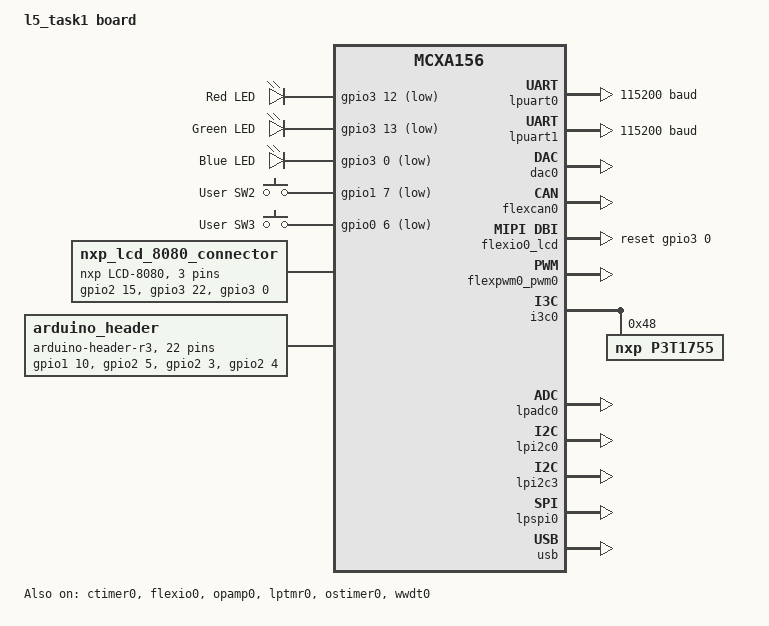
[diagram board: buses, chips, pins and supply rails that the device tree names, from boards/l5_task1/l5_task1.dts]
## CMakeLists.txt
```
cmake_minimum_required(VERSION 3.20.0)


list(APPEND BOARD_ROOT ${CMAKE_CURRENT_SOURCE_DIR})

# set(DTC_OVERLAY_FILE "${CMAKE_CURRENT_SOURCE_DIR}/boards/app.overlay")

## IMPORTANT: Use this line if you have many .overlay files.If not only your board overlay will be build.
# Used in practice DeviceTree:
# list(APPEND EXTRA_DTC_OVERLAY_FILE "${CMAKE_CURRENT_SOURCE_DIR}/boards/app.overlay")

#Used in practice Drivers: drivers app.overlay
list(APPEND EXTRA_DTC_OVERLAY_FILE "${CMAKE_CURRENT_SOURCE_DIR}/src/app.overlay")

list(APPEND DTS_ROOT ${CMAKE_CURRENT_SOURCE_DIR}/..) #added drivers

find_package(Zephyr REQUIRED)
project(my_zephyr_app)

# drivers
add_subdirectory(drivers/our_driver) 


target_sources(app PRIVATE src/main.cpp)


# Added by Franco: If option"Enable LED debugging" is active in Kconfig:
if(CONFIG_LED_DEBUG)
    message(STATUS "Option LED_DEBUG active: Adding target for automatic debug")
    
    add_custom_target(run_debug ALL
        COMMAND west debug
        COMMENT "Executing automatic west debug by CONFIG_LED_DEBUG=y"
        USES_TERMINAL
    )
    
    # Forces debug sesion after compilation
    add_dependencies(run_debug zephyr_final)
endif()
```

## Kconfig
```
# ------- Module 04 Homework by Franco Rota -------

config APP_HEARTBEAT_PERIOD_MS
    int "APP_HEARTBEAT_PERIOD_MS"
                range 100 2000
                default 500
    help
        Controls the blinking period.


# ------- End of Homework ------------------


# ------- Module 03 Homework by Franco Rota -------
# 1.[*] LED Subsystem --->
menuconfig LED_SUBSYSTEM
    bool "LED Subsystem"
    default y
if LED_SUBSYSTEM
    # 2a. LED blink sleep time (1s (medium))
    choice
        prompt "LED blink sleep time (1s (medium))"
        default BLINK_SLEEP_1000MS
        
        config BLINK_SLEEP_250MS
            bool "Very Fast"
            
        config BLINK_SLEEP_500MS
            bool "Fast"
        
        config BLINK_SLEEP_1000MS
            bool "Normal"
        
        config BLINK_SLEEP_2000MS
            bool "Slow"

    endchoice

    config BLINK_SLEEP_TIME_MS
        int 
        default 250 if BLINK_SLEEP_250MS
        default 500 if BLINK_SLEEP_500MS
        default 1000 if BLINK_SLEEP_1000MS
        default 2000 if BLINK_SLEEP_2000MS
        default 0

        help
            blink speed config.

    # 2b. [ ] Advanced LED settings
    menuconfig ADVANCED_LED_SETTINGS
        bool "Advanced LED settings"
        default n

        if ADVANCED_LED_SETTINGS

            # 3a. LED brightness (0-100)
            config LED_BRIGHTNESS
                int "LED brightness (0-100)"
                range 0 100
                default 100

            # 3b. Fade duration (ms)
            config LED_FADE_DURATION_MS
                int "Fade duration (ms)"
                range 0 5000
                default 500
                    
        endif #ADVANCED_LED_SETTINGS
        
        # 3c. Expert settings
        menu "Expert settings"
            visible if ADVANCED_LED_SETTINGS
            
            # 4a. Enable LED debugging
            config LED_DEBUG
                bool "Enable LED debugging"
                default n
            
            # 4b. Custom blink pattern
            config CUSTOM_BLINK
                bool "Custom blink pattern"
                default n
        endmenu #Expert settings


endif #LED_SUBSYSTEM

source "Kconfig.zephyr"
rsource "drivers/our_driver/Kconfig"


# ------- End of Homework -------

# ------- Module 03 - Lecture Kconfig file: --------------
### Useful commands: 
###     build: west build -b frdm_mcxa156 app -p always
###     menuconf: west build -t menuconfig


#choice
#    prompt "LED blink speed"
#    default BLINK_SLEEP_1000MS

#config BLINK_SLEEP_250MS
#    bool "Fast"

#config BLINK_SLEEP_1000MS
#    bool "Normal"

#config BLINK_SLEEP_2000MS
#    bool "Slow"

#endchoice

#config BLINK_SLEEP_TIME_MS
#    int 
#    default 250 if BLINK_SLEEP_250MS
#    default 1000 if BLINK_SLEEP_1000MS
#    default 2000 if BLINK_SLEEP_2000MS
#    default 0

#    help
#        help string can be multiline.
#            Like this one.

#source "Kconfig.zephyr"
```

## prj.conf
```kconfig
CONFIG_GPIO=y
CONFIG_LOG=y
CONFIG_OUR_DRIVER=y
CONFIG_SENSOR=y
CONFIG_SHELL=y
CONFIG_SENSOR_SHELL=n # Zephyr uses own sensor, can cause trouble L7-Task1
```

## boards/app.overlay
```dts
/{
    aliases{
	    app-led = &red_led; // red_led is led0 gpio3 pin 12 (label:node)
    };

};
```

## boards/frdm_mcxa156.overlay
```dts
/{
  /* // Used default led0 of frdm_mcxa156. Not used leds node.
     // Comented for exercise l4-task1:

  leds{
       //compatible: "gpio-leds";
       led_0: led_0{
              gpios = <&gpio3 12 GPIO_ACTIVE_LOW>;
        };
	      green_led: led_1{
              gpios = <&gpio3 13 GPIO_ACTIVE_LOW>;
        };
	      blue_led: led_2{
              gpios = <&gpio3 0 GPIO_ACTIVE_LOW>;
	      //
        };
	//gpios = <&hsgpio0 1 GPIO_ACTIVE_LOW>;
	//gpios = <&hsgpio0 0 GPIO_ACTIVE_LOW>;

  };
  */
};
```

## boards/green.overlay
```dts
/{
    aliases{
	warning-led = &green_led;
    };

};
```

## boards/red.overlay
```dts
/{
    aliases{
	warning-led = &blue_led;
    };

};
```

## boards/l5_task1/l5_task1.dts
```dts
/*
 * Copyright 2024 NXP
 *
 * SPDX-License-Identifier: Apache-2.0
 */

/dts-v1/;

#include <nxp/mcx/nxp_mcxa156.dtsi>
#include "frdm_mcxa156-pinctrl.dtsi"
#include <zephyr/dt-bindings/gpio/arduino-header-r3.h>
#include <zephyr/dt-bindings/input/input-event-codes.h>
#include <freq.h>

/ {
	model = "l5_task1 board";
	compatible = "l5_task1";

	aliases {
		led0 = &red_led;
		led1 = &green_led;
		led2 = &blue_led;
		sw0 = &user_button_2;
		sw1 = &user_button_3;
		pwm-0 = &flexpwm0_pwm0;
		mcuboot-button0 = &user_button_2;
		watchdog0 = &wwdt0;
		ambient-temp0 = &p3t1755;
		die-temp0 = &temp0;
	};

	chosen {
		zephyr,sram = &sram0;
		zephyr,flash = &flash;
		zephyr,flash-controller = &fmu;
		zephyr,code-partition = &slot0_partition;
		zephyr,console = &lpuart0;
		zephyr,shell-uart = &lpuart0;
		zephyr,uart-mcumgr = &lpuart0;
		zephyr,canbus = &flexcan0;
		zephyr,system-timer-companion = &lptmr0;
	};

	leds {
		compatible = "gpio-leds";

		red_led: led_0 {
			gpios = <&gpio3 12 GPIO_ACTIVE_LOW>;
			label = "Red LED";
		};

		green_led: led_1 {
			gpios = <&gpio3 13 GPIO_ACTIVE_LOW>;
			label = "Green LED";
		};

		blue_led: led_2 {
			gpios = <&gpio3 0 GPIO_ACTIVE_LOW>;
			label = "Blue LED";
		};
	};

	gpio_keys {
		compatible = "gpio-keys";

		user_button_2: button_2 {
			label = "User SW2";
			gpios = <&gpio1 7 GPIO_ACTIVE_LOW>;
			zephyr,code = <INPUT_KEY_0>;
		};

		user_button_3: button_3 {
			label = "User SW3";
			gpios = <&gpio0 6 GPIO_ACTIVE_LOW>;
			zephyr,code = <INPUT_KEY_1>;
		};
	};

	/*
	 * This node describes the GPIO pins of the LCD-PAR-S035 panel 8080 interface.
	 */
	nxp_lcd_8080_connector: lcd-8080-connector {
		compatible = "nxp,lcd-8080";
		#gpio-cells = <2>;
		gpio-map-mask = <0xffffffff 0xffffffc0>;
		gpio-map-pass-thru = <0 0x3f>;
		gpio-map = <9 0 &gpio2 15 0>,	/* Pin 9, LCD touch INT */
			   <10 0 &gpio3 22 0>,	/* Pin 10, LCD backlight control */
			   <11 0 &gpio3 0 0>;	/* Pin 11, LCD and touch reset */
	};

	arduino_header: arduino-connector {
		compatible = "arduino-header-r3";
		#gpio-cells = <2>;
		gpio-map-mask = <0xffffffff 0xffffffc0>;
		gpio-map-pass-thru = <0 0x3f>;
		gpio-map = <ARDUINO_HEADER_R3_A0 0 &gpio1 10 0>,
			   <ARDUINO_HEADER_R3_A1 0 &gpio2 5 0>,
			   <ARDUINO_HEADER_R3_A2 0 &gpio2 3 0>,
			   <ARDUINO_HEADER_R3_A3 0 &gpio2 4 0>,
			   <ARDUINO_HEADER_R3_A4 0 &gpio1 12 0>,
			   <ARDUINO_HEADER_R3_A5 0 &gpio1 13 0>,
			   <ARDUINO_HEADER_R3_D0 0 &gpio2 11 0>,
			   <ARDUINO_HEADER_R3_D1 0 &gpio2 10 0>,
			   <ARDUINO_HEADER_R3_D2 0 &gpio3 1 0>,
			   <ARDUINO_HEADER_R3_D3 0 &gpio3 12 0>,
			   <ARDUINO_HEADER_R3_D4 0 &gpio3 31 0>,
			   <ARDUINO_HEADER_R3_D5 0 &gpio3 14 0>,
			   <ARDUINO_HEADER_R3_D6 0 &gpio3 16 0>,
			   <ARDUINO_HEADER_R3_D7 0 &gpio1 14 0>,
			   <ARDUINO_HEADER_R3_D8 0 &gpio1 15 0>,
			   <ARDUINO_HEADER_R3_D9 0 &gpio3 17 0>,
			   <ARDUINO_HEADER_R3_D10 0 &gpio3 13 0>,
			   <ARDUINO_HEADER_R3_D11 0 &gpio3 15 0>,
			   <ARDUINO_HEADER_R3_D12 0 &gpio2 16 0>,
			   <ARDUINO_HEADER_R3_D13 0 &gpio2 12 0>,
			   <ARDUINO_HEADER_R3_D14 0 &gpio0 16 0>,
			   <ARDUINO_HEADER_R3_D15 0 &gpio0 17 0>;
	};
};

&cpu0 {
	clock-frequency = <96000000>;
};

&gpio0 {
	status = "okay";
};

&gpio1 {
	status = "okay";
};

&gpio2 {
	status = "okay";
};

&gpio3 {
	status = "okay";
};

&gpio4 {
	status = "okay";
};

&lpuart0 {
	status = "okay";
	current-speed = <115200>;
	pinctrl-0 = <&pinmux_lpuart0>;
	pinctrl-names = "default";
};

&lpuart1 {
	status = "okay";
	current-speed = <115200>;
	pinctrl-0 = <&pinmux_lpuart1>;
	pinctrl-names = "default";
};

&ctimer0 {
	status = "okay";
};

&dac0 {
	status = "okay";
	pinctrl-0 = <&pinmux_dac0>;
	pinctrl-names = "default";
};

&edma0 {
	status = "okay";
};

&flexcan0 {
	status = "okay";
	pinctrl-0 = <&pinmux_flexcan0>;
	pinctrl-names = "default";
};

&flexio0 {
	status = "okay";
};

nxp_8080_touch_panel_i2c: &lpi2c2 {
	pinctrl-0 = <&pinmux_lpi2c2>;
	pinctrl-names = "default";
};

zephyr_mipi_dbi_parallel: &flexio0_lcd {
	/* DMA channels 0, muxed to FlexIO TX */
	dmas = <&edma0 0 71>;
	dma-names = "tx";
	shifters-count = <4>;
	timers-count = <1>;
	enwr-pin = <31>;
	rd-pin = <28>;
	data-pin-start = <0>;
	reset-gpios = <&gpio3 0 GPIO_ACTIVE_HIGH>;
	cs-gpios = <&gpio2 19 GPIO_ACTIVE_HIGH>;
	rs-gpios = <&gpio2 17 GPIO_ACTIVE_HIGH>;
	pinctrl-0 = <&pinmux_flexio_lcd>;
	pinctrl-names = "default";
};

&flexpwm0_pwm0 {
	status = "okay";
	pinctrl-0 = <&pinmux_flexpwm0_pwm0>;
	pinctrl-names = "default";
};

&i3c0 {
	status = "okay";
	pinctrl-0 = <&pinmux_i3c0>;
	pinctrl-names = "default";

	i2c-scl-hz = <DT_FREQ_K(400)>;
	i3c-scl-hz = <DT_FREQ_M(4)>;
	i3c-od-scl-hz = <DT_FREQ_K(1500)>;

	p3t1755: p3t1755@4800000236152a0090 {
		compatible = "nxp,p3t1755";
		reg = <0x48 0x0236 0x152a0090>;
		status = "okay";
	};
};

&lpadc0 {
	status = "okay";
	pinctrl-0 = <&pinmux_lpadc0>;
	pinctrl-names = "default";
};

&opamp0 {
	status = "okay";
	pinctrl-0 = <&pinmux_opamp0>;
	pinctrl-names = "default";
};

&lpi2c0 {
	status = "okay";
	pinctrl-0 = <&pinmux_lpi2c0>;
	pinctrl-names = "default";
};

&lpi2c3 {
	status = "okay";
	pinctrl-0 = <&pinmux_lpi2c3>;
	pinctrl-names = "default";
};

&lpspi0 {
	status = "okay";
	pinctrl-0 = <&pinmux_lpspi0>;
	pinctrl-names = "default";
};

&lptmr0 {
	status = "okay";
};

/*
 * Uses OS timer as the kernel timer
 */
&ostimer0 {
	status = "okay";
};

zephyr_udc0: &usb {
	status = "okay";
	num-bidir-endpoints = <8>;
};

&wwdt0 {
	status = "okay";
};

&flash {
	partitions {
		compatible = "fixed-partitions";
		#address-cells = <1>;
		#size-cells = <1>;

		boot_partition: partition@0 {
			label = "mcuboot";
			reg = <0x00000000 DT_SIZE_K(64)>;
			read-only;
		};

		slot0_partition: partition@10000 {
			label = "image-0";
			reg = <0x00010000 DT_SIZE_K(424)>;
		};

		slot1_partition: partition@7a000 {
			label = "image-1";
			reg = <0x0007a000 DT_SIZE_K(424)>;
		};

		storage_partition: partition@e4000 {
			label = "storage";
			reg = <0x000e4000 DT_SIZE_K(112)>;
		};
	};
};
```

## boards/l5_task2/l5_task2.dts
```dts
/dts-v1/;

#include <nxp/mcx/nxp_mcxa156.dtsi>
#include "frdm_mcxa156-pinctrl.dtsi"

/{
    model = "L5 TASK2 Board";
    compatible = "iomico.l5_task2";

    aliases{
	    led0 = &red_led;
	    led1 = &green_led;
            led2 = &blue_led;
    };
    chosen{
            zephyr,sram = &sram0;
	    	zephyr,flash = &flash;
	    	zephyr,flash-controller = &fmu;
	    	zephyr,code-partition = &slot0_partition;
	    	zephyr,console = &lpuart0;                // added for serial communication
	    	zephyr,shell-uart = &lpuart0;             // also for serial communication
    };
    leds{
	compatible = "gpio-leds";

	red_led: led_0 {
		gpios = <&gpio3 12 GPIO_ACTIVE_LOW>;
		label = "Red LED";
	};

	green_led: led_1 {
		gpios = <&gpio3 13 GPIO_ACTIVE_LOW>;
		label = "Green LED";
	};

	blue_led: led_2 {
		gpios = <&gpio3 0 GPIO_ACTIVE_LOW>;
		label = "Blue LED";
	};
    };
}; // root directory closes

// Other modules added: gpio, cpu clock, flash.

&gpio3 {
	status = "okay";
};

&cpu0 {
	clock-frequency = <96000000>;
};

&lpuart0 {
    status = "okay";
    current-speed = <115200>;
    pinctrl-0 = <&pinmux_lpuart0>;
    pinctrl-names = "default";
};

&lpuart1 {
    status = "disabled";
};

&flash {
	partitions {
		compatible = "fixed-partitions";
		#address-cells = <1>;
		#size-cells = <1>;

		boot_partition: partition@0 {
			label = "mcuboot";
			reg = <0x00000000 DT_SIZE_K(64)>;
			read-only;
		};

		slot0_partition: partition@10000 {
			label = "image-0";
			reg = <0x00010000 DT_SIZE_K(424)>;
		};

		slot1_partition: partition@7a000 {
			label = "image-1";
			reg = <0x0007a000 DT_SIZE_K(424)>;
		};

		storage_partition: partition@e4000 {
			label = "storage";
			reg = <0x000e4000 DT_SIZE_K(112)>;
		};
	};
};
```

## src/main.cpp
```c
#include <zephyr/drivers/gpio.h>
#include <zephyr/kernel.h>
#include <zephyr/logging/log.h>
#include <zephyr/drivers/sensor.h>

#include "our_driver.h" // L06-Task 2

/*Commands:
    Build: west build -b frdm_mcxa156 app -p
    Flash: west flash
    menuconfig: west build -t menuconfig
    zephyr.dts is found here: .\zephyr-course\build\zephyr\zephyr.dts
*/

/* The devicetree node identifier for the "led0" alias. */

//#define LED_NODE DT_ALIAS(warning_led)
//#define LED_NODE DT_ALIAS(led2)

//#define LED_NODE DT_ALIAS(app_led)
    /* Method 1: using nodelabel
    //#define LED_NODE DT_NODELABEL(red_led)
    */

    /* Method 2: ussing path
    //#define LED_NODE DT_PATH(leds,led_1)
    */

    /* Method 3: using other overlays
    //west build -- -DEXTRA_DTC_OVERLAY_FILE="boards/green.overlay"
    */

//Not used: //#define LED_NODE DT_ALIAS(led0)


static const struct device *const our_dev = DEVICE_DT_GET(DT_NODELABEL(our_driver0));


LOG_MODULE_REGISTER(main, LOG_LEVEL_INF);

// Added for driver lecture:
/*
namespace {
    void test(){
        const struct device *driver = DEVICE_DT_GET(DT_NODELABEL(our_driver0));
        struct sensor_value val;
        int ret = sensor_channel_get(driver, SENSOR_CHAN_AMBIENT_TEMP,&val);
        LOG_INF("Channel ret %d",ret);
    }
}
*/

int main(void)
{
    if(!device_is_ready(our_dev)){

        LOG_ERR("our_driver0 is not ready");
        return 0;

    }

    struct sensor_value val;
    uint32_t count;

    // ########## For L7-Task1, I comment this while(1) so shell runs its own thread and LED doesn't toggle by this code. #############
    /*
    while(1){
        sensor_sample_fetch(our_dev);                               // LED ON
        k_msleep(500);                                           
        sensor_channel_get(our_dev, SENSOR_CHAN_AMBIENT_TEMP, &val); // LED OFF
        our_driver_increment_counter(our_dev, &count);
        LOG_INF("main: blink #%u", count);
        k_msleep(500);
    
    } //end while
    */


    /* // Commented Code from Previous exercises:
    bool led_state = true;

    if (!gpio_is_ready_dt(&led)) return 0;

    if (gpio_pin_configure_dt(&led, GPIO_OUTPUT_ACTIVE) < 0) return 0;

    while (1) {
        if (gpio_pin_toggle_dt(&led) < 0) return 0;

        led_state = !led_state;
        LOG_INF("LED state: %s", led_state ? "ON" : "OFF");


        //k_msleep(CONFIG_BLINK_SLEEP_TIME_MS);    // Use for Module 01 to 03
        k_msleep(CONFIG_APP_HEARTBEAT_PERIOD_MS); // Use for Module 04

    }
    return 0;
    */

    return 0; // For L07-Task1

} //end main
```
